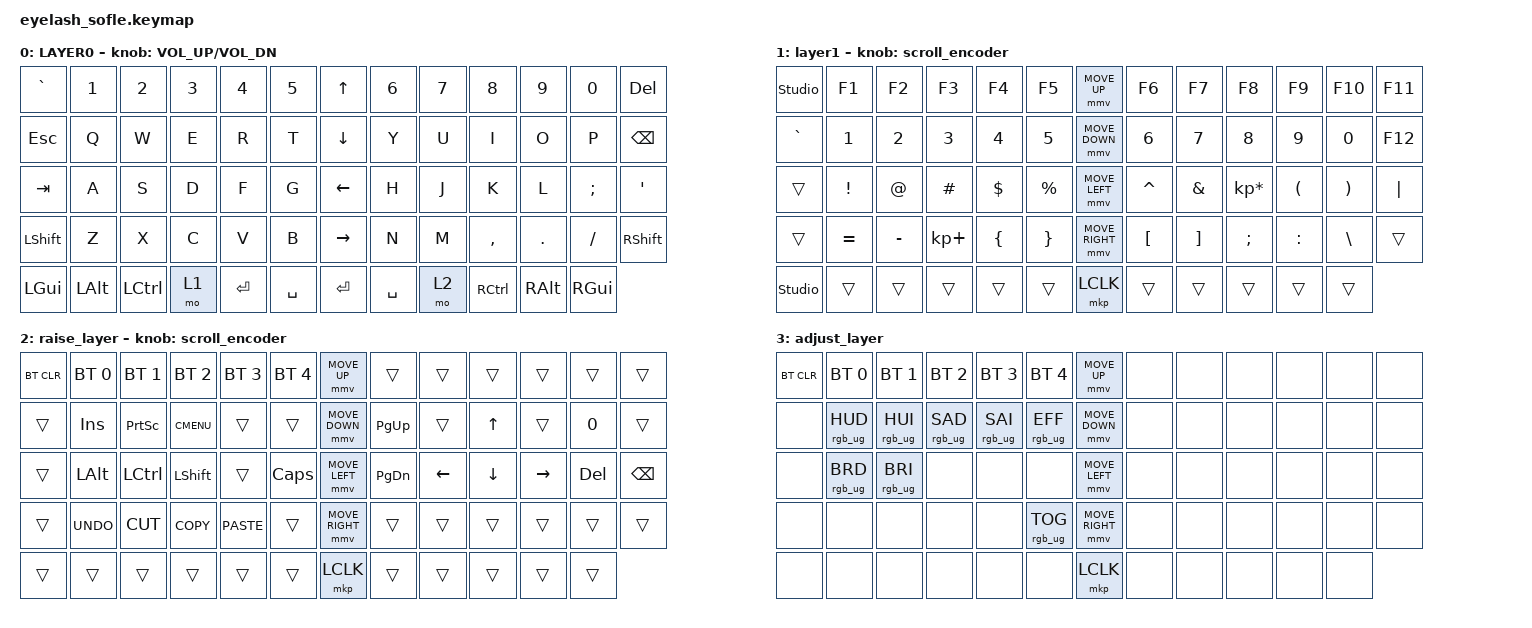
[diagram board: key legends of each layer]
#include <behaviors.dtsi>
#include <dt-bindings/zmk/bt.h>
#include <dt-bindings/zmk/keys.h>
#include <dt-bindings/zmk/mouse.h>
#include <dt-bindings/zmk/outputs.h>
#include <dt-bindings/zmk/rgb.h>

#include <input/processors.dtsi>

/*

   &mmv_input_listener {
       input-processors = <&zip_xy_scaler 2 1>;
   };

   &msc_input_listener {
       input-processors = <&zip_xy_scaler 2 1>;
   };

 */

#define ZMK_MOUSE_DEFAULT_MOVE_VAL 1200  // 600
#define ZMK_MOUSE_DEFAULT_SCRL_VAL 20    // 10


/ {
    behaviors {
        mmv {
            acceleration-exponent = <1>;      // 1
            time-to-max-speed-ms = <900>;    // 40
            delay-ms = <0>;                   // 0
        };

        msc {
            acceleration-exponent = <1>;      // 0
            time-to-max-speed-ms = <400>;      // 500
            delay-ms = <0>;                   //   10
        };
    };

    scroll_encoder: scroll_encoder {
        compatible = "zmk,behavior-sensor-rotate";
        #sensor-binding-cells = <0>;
        bindings = <&msc SCRL_DOWN>, <&msc SCRL_UP>;

        tap-ms = <30>;
    };

    keymap {
        compatible = "zmk,keymap";

        default_layer {
            bindings = <
&kp GRAVE  &kp N1     &kp N2        &kp N3        &kp N4  &kp N5       &kp UP_ARROW     &kp N6     &kp N7     &kp N8     &kp N9           &kp N0      &kp DELETE
&kp ESC    &kp Q      &kp W         &kp E         &kp R   &kp T        &kp DOWN_ARROW   &kp Y      &kp U      &kp I      &kp O            &kp P       &kp BSPC
&kp TAB    &kp A      &kp S         &kp D         &kp F   &kp G        &kp LEFT_ARROW   &kp H      &kp J      &kp K      &kp L            &kp SEMI    &kp SQT
&kp LSHFT  &kp Z      &kp X         &kp C         &kp V   &kp B        &kp RIGHT_ARROW  &kp N      &kp M      &kp COMMA  &kp DOT          &kp FSLH    &kp RSHFT
&kp LGUI   &kp LALT   &kp LCTRL     &mo 1         &kp RET &kp SPACE    &kp ENTER        &kp SPACE  &mo 2      &kp RCTRL  &kp RALT         &kp RGUI
            >;

            sensor-bindings = <&inc_dec_kp C_VOLUME_UP C_VOL_DN>;
            display-name = "LAYER0";
        };

        lower_layer {
            bindings = <
&studio_unlock     &kp F1     &kp F2     &kp F3       &kp F4    &kp F5             &mmv MOVE_UP     &kp F6     &kp F7    &kp F8           &kp F9     &kp F10   &kp F11
&kp GRAVE          &kp N1     &kp N2     &kp N3       &kp N4    &kp N5             &mmv MOVE_DOWN   &kp N6     &kp N7    &kp N8           &kp N9     &kp N0    &kp F12
&trans             &kp EXCL   &kp AT     &kp HASH     &kp DLLR  &kp PRCNT          &mmv MOVE_LEFT   &kp CARET  &kp AMPS  &kp KP_MULTIPLY  &kp LPAR   &kp RPAR  &kp PIPE
&trans             &kp EQUAL  &kp MINUS  &kp KP_PLUS  &kp LBRC  &kp RBRC           &mmv MOVE_RIGHT  &kp LBKT   &kp RBKT  &kp SEMI         &kp COLON  &kp BSLH  &trans
&studio_unlock     &trans     &trans     &trans       &trans    &trans             &mkp LCLK        &trans     &trans    &trans           &trans     &trans
            >;

            display-name = "layer1";
            sensor-bindings = <&scroll_encoder>;
        };

        raise_layer {
            bindings = <
&bt BT_CLR  &bt BT_SEL 0  &bt BT_SEL 1  &bt BT_SEL 2  &bt BT_SEL 3  &bt BT_SEL 4     &mmv MOVE_UP     &trans     &trans    &trans     &trans    &trans   &trans
&trans      &kp INS       &kp PSCRN     &kp K_CMENU   &trans        &trans           &mmv MOVE_DOWN   &kp PG_UP  &trans    &kp UP     &trans    &kp N0   &trans
&trans      &kp LALT      &kp LCTRL     &kp LSHFT     &trans        &kp CLCK         &mmv MOVE_LEFT   &kp PG_DN  &kp LEFT  &kp DOWN   &kp RIGHT &kp DEL  &kp BSPC
&trans      &kp K_UNDO    &kp K_CUT     &kp K_COPY    &kp K_PASTE   &trans           &mmv MOVE_RIGHT  &trans     &trans    &trans     &trans    &trans   &trans
&trans      &trans        &trans        &trans        &trans        &trans           &mkp LCLK        &trans     &trans    &trans     &trans    &trans
            >;

            sensor-bindings = <&scroll_encoder>;
        };

        adjust_layer {
            bindings = <
&bt BT_CLR         &bt BT_SEL 0     &bt BT_SEL 1     &bt BT_SEL 2     &bt BT_SEL 3     &bt BT_SEL 4     &mmv MOVE_UP     &none  &none  &none  &none  &none  &none
&none              &rgb_ug RGB_HUD  &rgb_ug RGB_HUI  &rgb_ug RGB_SAD  &rgb_ug RGB_SAI  &rgb_ug RGB_EFF  &mmv MOVE_DOWN   &none  &none  &none  &none  &none  &none
&none              &rgb_ug RGB_BRD  &rgb_ug RGB_BRI  &none            &none            &none            &mmv MOVE_LEFT   &none  &none  &none  &none  &none  &none
&none              &none            &none            &none            &none            &rgb_ug RGB_TOG  &mmv MOVE_RIGHT  &none  &none  &none  &none  &none  &none
&none              &none            &none            &none            &none            &none            &mkp LCLK        &none  &none  &none  &none  &none
            >;
        };
    };
};
